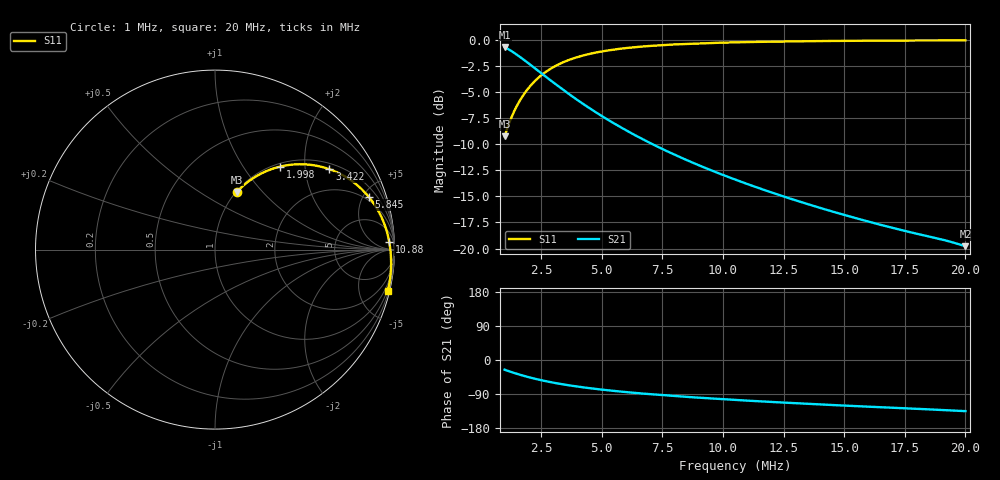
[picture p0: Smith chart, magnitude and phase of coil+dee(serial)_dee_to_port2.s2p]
# HZ S RI R 50
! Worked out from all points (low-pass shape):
!   401 points, 1 MHz to 20 MHz, reference 50 ohm
!   highest |S21| = -0.71 dB at 1 MHz (marker M1); lowest = -19.8 dB at 20 MHz (marker M2)
!   |S21| within 3 dB of the highest: start of sweep to 2.784 MHz
!   lowest |S11| = -9.3 dB at 1 MHz (marker M3), VSWR 2.05, Z = 50.4 + j36.7 ohm
!   |S11| at or under -10 dB: nowhere
!   S12 and S22 are empty: the file has one direction only
!   S11 on the Smith chart (normalised r, x): 1 MHz: 1.01, +0.73; 1.998 MHz: 1.06, +1.49; 3.422 MHz: 1.18, +2.70; 5.845 MHz: 1.68, +5.50; 10.88 MHz: 20, +32; 20 MHz: 0.36, -8.41
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1000000  0.1215 0.3214  0.831 -0.3989  0 0  0 0
1095000  0.143 0.3431  0.8036 -0.4237  0 0  0 0
1285000  0.188 0.3809  0.7468 -0.4657  0 0  0 0
1522500  0.2465 0.4181  0.6751 -0.505  0 0  0 0
1760000  0.3055 0.4449  0.6051 -0.5314  0 0  0 0
1997500  0.3631 0.4625  0.5387 -0.5469  0 0  0 0
2330000  0.4392 0.4743  0.4541 -0.5547  0 0  0 0
2710000  0.5175 0.4738  0.3701 -0.5494  0 0  0 0
3042500  0.5777 0.4647  0.3078 -0.537  0 0  0 0
3422500  0.6377 0.4476  0.2477 -0.5176  0 0  0 0
3802500  0.6889 0.4265  0.1977 -0.4951  0 0  0 0
4182500  0.7321 0.4027  0.1562 -0.4717  0 0  0 0
4990000  0.8036 0.3494  0.0896 -0.4224  0 0  0 0
5845000  0.8568 0.2939  0.0415 -0.3747  0 0  0 0
6510000  0.8869 0.2533  0.0146 -0.342  0 0  0 0
7365000  0.9158 0.2049  -0.0107 -0.3047  0 0  0 0
8742500  0.9461 0.1352  -0.0374 -0.2552  0 0  0 0
1.05e7  0.9677 0.0588  -0.0567 -0.2062  0 0  0 0
1.088e7  0.9707 0.0438  -0.0594 -0.1974  0 0  0 0
1.36825e7  0.981 -0.0554  -0.071 -0.1441  0 0  0 0
1.6865e7  0.9768 -0.1507  -0.0738 -0.1029  0 0  0 0
2e7  0.9625 -0.2316  -0.0724 -0.0728  0 0  0 0
